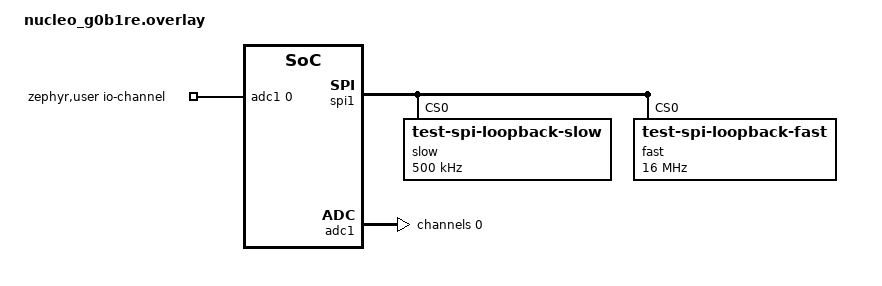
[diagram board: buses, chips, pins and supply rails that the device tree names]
/*
 * Copyright (c) 2021 Thomas Stranger
 *
 * SPDX-License-Identifier: Apache-2.0
 */

&dma1 {
	status = "okay";
};

&dma2 {
	status = "okay";
};

tst_dma0: &dmamux1 {
	status = "okay";
};

&spi1 {
	dmas = <&dmamux1 2 17 (STM32_DMA_PERIPH_TX | STM32_DMA_PRIORITY_HIGH)>,
	       <&dmamux1 1 16 (STM32_DMA_PERIPH_RX | STM32_DMA_PRIORITY_HIGH)>;
	dma-names = "tx", "rx";
	slow@0 {
		compatible = "test-spi-loopback-slow";
		reg = <0>;
		spi-max-frequency = <500000>;
	};
	fast@0 {
		compatible = "test-spi-loopback-fast";
		reg = <0>;
		spi-max-frequency = <16000000>;
	};
};

&dmamux1 {
	status = "okay";
};

/ {
	zephyr,user {
		io-channels = <&adc1 0>;
	};
};

&adc1 {
	#address-cells = <1>;
	#size-cells = <0>;
	channel@0 {
		reg = <0>;
		zephyr,gain = "ADC_GAIN_1";
		zephyr,reference = "ADC_REF_INTERNAL";
		zephyr,acquisition-time = <ADC_ACQ_TIME_DEFAULT>;
		zephyr,resolution = <12>;
	};
};
